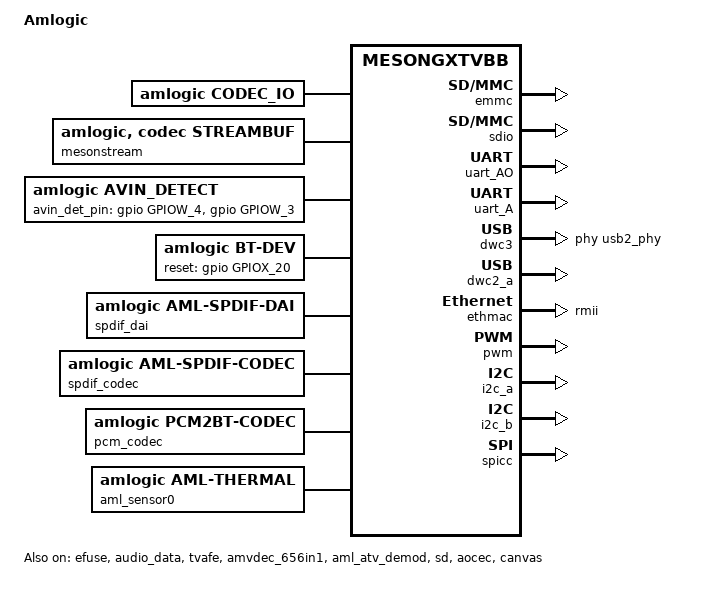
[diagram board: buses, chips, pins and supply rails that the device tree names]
/*
 * Amlogic Ltd. GXtvBaby 9023 skt Plaform
 *
 */

/dts-v1/;

#include <dt-bindings/interrupt-controller/arm-gic.h>
#include <dt-bindings/clock/gxtvbb.h>
#include <dt-bindings/gpio/gxtvbb.h>
#include <dt-bindings/gpio/gpio.h>
#include <dt-bindings/reset/aml_gxtvbb.h>
#include <dt-bindings/pwm/pwm.h>
#include <dt-bindings/pwm/meson.h>
#include "mesongxtvbb.dtsi"

/ {
	model = "Amlogic";
	compatible = "amlogic, gxtvbb";
	interrupt-parent = <&gic>;
	#address-cells = <2>;
	#size-cells = <2>;

	aliases {
		serial0 = &uart_AO;
		serial1 = &uart_A;
	};

	memory@00000000 {
		device_type = "memory";
		linux,usable-memory = <0x0 0x1000000 0x0 0x7f000000>;
	};

	reserved-memory {
		#address-cells = <2>;
		#size-cells = <2>;
		ranges;
		/* global autoconfigured region for contiguous allocations */
		secmon_reserved:linux,secmon {
			compatible = "amlogic, aml_secmon_memory";
			reg = <0x0 0x10000000 0x0 0x200000>;
			no-map;
		};
		secos_reserved:linux,secos {
			status = "disable";
			compatible = "amlogic, aml_secos_memory";
			reg = <0x0 0x05300000 0x0 0x2000000>;
			no-map;
		};
		pstore:aml_pstore {
			compatible = "amlogic, pstore";
			reg = <0x0 0x07300000 0x0 0x100000>;
			no-map;
		};
		/*fb_reserved:linux,meson-fb {
			compatible = "amlogic, fb-memory";
			size = <0x0 0x2000000>;
			no-map;
		};*/
		/*di reserved mem*/
		di_reserved:linux,di {
			compatible = "amlogic, di-mem";
			/* buffer_size = 3552320(yuv422 8bit) | 4596800(yuv422 10bit) | 4074560(yuv422 10bit full pack mode) */
			/** 10x3552320=34M(0x22) support 8bit **/
			/** 10x44596800=44M(0x2c) support 12bit **/
			/** 10x4074560=39M(0x27) support 10bit **/
			size = <0x0 0x2c00000>;
			//no-map;
		};
		/*di CMA pool */
		//di_cma_reserved:linux,di_cma {
			//compatible = "shared-dma-pool";
			//reusable;
			/* buffer_size = 3552320(yuv422 8bit) | 44596800(yuv422 10bit) | 4074560(yuv422 10bit full pack mode) */
			/** 10x3552320=34M(0x22) support 8bit **/
			/** 10x44596800=44M(0x2c) support 12bit **/
			/** 10x4074560=39M(0x27) support 10bit **/
			//size = <0x0 0x03000000>;
			//alignment = <0x0 0x400000>;
		//};
		demod_reserved:linux,demod {
			compatible = "amlogic, demod-mem";
			size = <0x0 0x600000>; //20m
			//no-map;
		};

		ion_reserved:linux,ion-dev {
			compatible = "amlogic, idev-mem";
			size = <0x0 0x4000000>;
		};

		/*  PICDEC reserved memory */
		picdec_reserved:linux,picdec {
			compatible = "amlogic, picdec_memory";
			size = <0x0 0x1000000>;
			//no-map;
		};
		/*  POST PROCESS MANAGER */
		ppmgr_reserved:linux,ppmgr {
			compatible = "amlogic, ppmgr_memory";
			size = <0x0 0x1000000>;
		};
		/* AVC Encode CMA pool */
		avc_cma_reserved:linux,avc_cma {
			compatible = "shared-dma-pool";
			linux,phandle = <1>;
			reusable;
			size = <0x0 0x2400000>;
			alignment = <0x0 0x400000>;
			linux,contiguous-region;
		};
		/* vdec CMA pool */
		vdec_cma_reserved:linux,vdec_cma {
			compatible = "shared-dma-pool";
			linux,phandle = <2>;
			reusable;
			size = <0x0 0x12000000>;
			alignment = <0x0 0x400000>;
		};

		jpegenc_cma_reserved:linux,jpegenc_cma {
			compatible = "shared-dma-pool";
			linux,phandle = <3>;
			reusable;
			size = <0x0 0x2400000>;
			alignment = <0x0 0x400000>;
		};
		/*  vdin0 CMA pool */
		vdin0_cma_reserved:linux,vdin0_cma {
			compatible = "shared-dma-pool";
			linux,phandle = <4>;
			reusable;
			/* 3840x2160x2x4  =64+4 M */
			size = <0x0 0x04400000>;
			alignment = <0x0 0x400000>;
		};
		/*  vdin1 CMA pool */
		vdin1_cma_reserved:linux,vdin1_cma {
			compatible = "shared-dma-pool";
			linux,phandle = <5>;
			reusable;
			/* 1920x1080x2x4  =16+4 M */
			size = <0x0 0x01400000>;
			alignment = <0x0 0x400000>;
		};
		/*  tvafe CMA pool */
		tvafe_cma_reserved:linux,tvafe_cma {
			compatible = "shared-dma-pool";
			linux,phandle = <6>;
			reusable;
			/* 5 M */
			size = <0x0 0x00800000>;
			alignment = <0x0 0x400000>;
		};
	};

	meson-vout {
		compatible = "amlogic, meson-vout";
		dev_name = "meson-vout";
		status = "okay";
	};
	meson-fb {
		compatible = "amlogic, meson-fb";
		/*memory-region = <&fb_reserved>;*/
		dev_name = "meson-fb";
		status = "okay";
		interrupts = <0 3 1
			0 89 1>;
		interrupt-names = "viu-vsync", "rdma";
		mem_size = <0x01800000 0x00100000>; /* fb0/fb1 memory size */
		display_mode_default = "1080p60hz";
		scale_mode = <1>; /** 0:VPU free scale 1:OSD free scale 2:OSD super scale */
		display_size_default = <1920 1080 1920 3240 32>; //1920*1080*4*3 = 0x17BB000
		/*pxp_mode = <1>; /** 0:normal mode 1:pxp mode */
		logo_addr = "0x7d851000";
	};
	ge2d {
		compatible = "amlogic, ge2d";
		dev_name = "ge2d";
		status = "okay";
		interrupts = <0 150 1>;
		interrupt-names = "ge2d";
		clocks = <&clock CLK_VAPB_0>,
			<&clock CLK_GE2D>;
		clock-names = "clk_vapb_0",
				"clk_ge2d";
		resets = <&clock GCLK_IDX_GE2D>;
		reset-names = "ge2d";
	};
	codec_io {
		compatible = "amlogic, codec_io";
		#address-cells=<2>;
		#size-cells=<2>;
		ranges;
		io_cbus_base{
			reg = <0x0 0xC0800000 0x0 0xb00000>;
		};
		io_dos_base{
			reg = <0x0 0xc8820000 0x0 0x10000>;
		};
		io_hiubus_base{
			reg = <0x0 0xc883c000 0x0 0x2000>;
		};
		io_aobus_base{
			reg = <0x0 0xc8100000 0x0 0x100000>;
		};
		io_vcbus_base{
			reg = <0x0 0xd0100000 0x0 0x40000>;
		};
		io_dmc_base{
			reg = <0x0 0xc8838000 0x0 0x2000>;
		};
	};

	mesonstream {
		compatible = "amlogic, codec, streambuf";
		dev_name = "mesonstream";
		status = "okay";
		resets = <&clock GCLK_IDX_HIU_PARSER_TOP
			&clock GCLK_IDX_VPU_INTR
			&clock GCLK_IDX_DEMUX
			&clock GCLK_IDX_DOS>;
		reset-names = "parser_top",
			"vpu_intr",
			"demux",
			"vdec";
	};

	amvideocap {
		compatible = "amlogic, amvideocap";
		dev_name = "amvideocap.0";
		status = "okay";
		max_size = <8>;//8M
	};

	ion_dev {
		compatible = "amlogic, ion_dev";
		memory-region = <&ion_reserved>;
	};

	vdec {
		compatible = "amlogic, vdec";
		memory-region = <&vdec_cma_reserved>;
		dev_name = "vdec.0";
		status = "okay";
		interrupts = <0 3 1
			0 23 1
			0 32 1
			0 43 1
			0 44 1
			0 45 1>;
		interrupt-names = "vsync",
			"demux",
			"parser",
			"mailbox_0",
			"mailbox_1",
			"mailbox_2";
	};
	ppmgr {
		compatible = "amlogic, ppmgr";//to match of_device_id's compatible member
		memory-region = <&ppmgr_reserved>;
		dev_name = "ppmgr";
		status = "okay";
	};
	deinterlace {
		compatible = "amlogic, deinterlace";
		status = "okay";
		flag_cma = <0>;/*0:use reserved;1:use cma*/
		memory-region = <&di_reserved>;
		//memory-region = <&di_cma_reserved>;
		interrupts = <0 46 1
				0 6 1>;
		interrupt-names = "de_irq",
				"timerc";
		/* nr_size(byte) = 1920*544*2(yuv422 8bit) | 1920*544*2*12/8(yuv422 10bit) | 1920*544*2*10/8(yuv422 10bit full pack mode) */
		/* mtn_size(byte) = 1920*544/2 */
		/* count_size(byte) = 1920*544/2 */
		/* mv_size(byte) = 1920*544*2/5 */
		/* mc_size(byte) = 544*2 */
		/* buffer_size = nr_size + mtn_size + count_size + mv_size + mc_size */
		/* buffer_size = 3552320(yuv422 8bit) | 4596800(yuv422 10bit) | 4074560(yuv422 10bit full pack mode) */
		buffer-size = <4596800>;
		hw-version = <2>;
		/* reserve-iomap = "true"; */
		/* if enable nr10bit, set nr10bit-surpport to 1 */
		nr10bit-surpport = <1>;
	};
	vdin0 {
		compatible = "amlogic, vdin";
		memory-region = <&vdin0_cma_reserved>;
		dev_name = "vdin0";
		status = "ok";
		reserve-iomap = "true";
		interrupts = <0 83 1>;
		rdma-irq = <2>;
		clocks = <&clock CLK_FPLL_DIV5>,
			<&clock CLK_VDIN_MEAS_CLK>;
		clock-names = "fclk_div5", "cts_vdin_meas_clk";
		vdin_id = <0>;
	};
	vdin1 {
		compatible = "amlogic, vdin";
		memory-region = <&vdin1_cma_reserved>;
		dev_name = "vdin1";
		status = "ok";
		reserve-iomap = "true";
		interrupts = <0 85 1>;
		rdma-irq = <4>;
		clocks = <&clock CLK_FPLL_DIV5>,
			<&clock CLK_VDIN_MEAS_CLK>;
		clock-names = "fclk_div5", "cts_vdin_meas_clk";
		vdin_id = <1>;
	};
	hdmirx {
		compatible = "amlogic, hdmirx";
		dev_name = "hdmirx";
		status = "ok";
		interrupts = <0 56 1>;
		clocks = <&clock CLK_HDMIRX_MODET_CLK>,
			<&clock CLK_HDMIRX_CFG_CLK>,
			<&clock CLK_HDMIRX_ACR_REF_CLK>,
			<&clock CLK_HDMIRX_AUDMEAS_CLK>,
			<&clock CLK_XTAL>,
			<&clock CLK_FPLL_DIV5>;
		clock-names = "hdmirx_modet_clk",
			"hdmirx_cfg_clk",
			"hdmirx_acr_ref_clk",
			"hdmirx_audmeas_clk",
			"xtal",
			"fclk_div5";
		hdmirx_id = <0>;
 	};
	tvafe {
		compatible = "amlogic, tvafe";
		memory-region = <&tvafe_cma_reserved>;
		dev_name = "tvafe";
		status = "ok";
		reg = <0x0 0xc8842000 0x0 0x2000>;
		reserve-iomap = "true";
		tvafe_id = <0>;
		pinctrl-names = "default";
		tvafe_pin_mux = < /*!!particular sequence, no more and no less!!!*/
			2	/*// TVAFE_CVBS_IN1,  //CVBS_IN0 = 0,*/
			1	/*// TVAFE_CVBS_IN0,    //CVBS_IN1,*/
			3	/*// TVAFE_CVBS_IN2,  //CVBS_IN2*/
			4	/*// TVAFE_CVBS_IN3,    //CVBS_IN3,*/
		>;
	};
	avin_detect {
		compatible = "amlogic, avin_detect";
		status = "okay";
		avin_device_num = <2>;
		interrupts = <0 65 1
					  0 66 1>;
		pinctrl-names = "avin_gpio_disable_pullup";
		pinctrl-0 = <&avin_gpio_disable_pull>;
		avin_det_pin =  <&gpio       GPIOW_4       GPIO_ACTIVE_HIGH>,
						<&gpio       GPIOW_3       GPIO_ACTIVE_HIGH>;
		detect_interval_length = <100>;
		set_detect_times = <5>;
		set_fault_tolerance = <1>;
	};
	amvdec_656in1 {
		compatible = "amlogic, amvdec_656in";
		dev_name = "amvdec_656in1";
		status = "ok";
		reg = <0x0 0xd0050000 0x0 0x7c>;
		clocks = <&clock CLK_FPLL_DIV2>,
			<&clock CLK_BT656_CLK1>;
		clock-names = "fclk_div2", "cts_bt656_clk1";
		bt656_id = <1>;
	};
	dvb {
		compatible = "amlogic, dvb";
		dev_name = "dvb";
		status = "okay";
		/*"parallel","serial","disable"*/
		ts2 = "parallel";
		ts2_control = <0>;
		ts2_invert = <0>;
		resets = <&clock GCLK_IDX_DEMUX
				&clock GCLK_IDX_ASYNC_FIFO
				&clock GCLK_IDX_AHB_ARB0
				&clock GCLK_IDX_HIU_PARSER_TOP>;
		reset-names = "demux", "asyncfifo", "ahbarb0", "uparsertop";
	};
	dvbfe {
		compatible = "amlogic, dvbfe";
		dev_name = "dvbfe";
		status = "okay";
		dtv_demod0 = "AMLDEMOD";
		fe0_dtv_demod = <0>;
		fe0_ts = <2>;
		fe0_dev = <0>;
		dtv_demod0_mem = <0>;
		memory-region = <&demod_reserved>;
		tuner0 = "mxl661_tuner";
		tuner0_i2c_adap_id = <1>;
		tuner0_i2c_addr = <0x60>;
		//tuner0_reset_value = <0>;
		//tuner0_reset_gpio =  "GPIOY_10" ;  /*GPIOX_8   76*/
		fe0_tuner = <0>;
		atv_demod0 = "aml_atv_demod";
		fe0_atv_demod = <0>;
	};
	aml_atv_demod {
		compatible = "amlogic, aml_atv_demod";
		dev_name = "aml_atv_demod";
		status = "okay";
		reg = <0x0 0xc8840000 0x0 0x2000>;
		reg_23cf = <0x88188832>;/*default:0x88188832;r840 on haier:0x48188832*/
	};
	aml_local_dimming {
		compatible = "amlogic, aml_local_dimming";
		dev_name = "aml_local_dimming";
		status = "disable";
	};
	amlvecm {
		compatible = "amlogic, vecm";
		dev_name = "aml_vecm";
		status = "okay";
		gamma_en = <1>;/*1:enabel ;0:disable*/
		wb_en = <1>;/*1:enabel ;0:disable*/
		cm_en = <1>;/*1:enabel ;0:disable*/
	};

	amvenc_avc{
		compatible = "amlogic, amvenc_avc";
		//memory-region = <&amvenc_avc_reserved>;
		memory-region = <&avc_cma_reserved>;
		dev_name = "amvenc_avc";
		status = "okay";
		interrupts = <0 45 1>;
		interrupt-names = "mailbox_2";
	};

	jpegenc{
		compatible = "amlogic, jpegenc";
		//memory-region = <&jpegenc_reserved>;
		memory-region = <&jpegenc_cma_reserved>;
		dev_name = "jpegenc";
		status = "okay";
		interrupts = <0 45 1>;
		interrupt-names = "mailbox_2";
	};


	vpu {
		compatible = "amlogic, vpu";
		dev_name = "vpu";
		status = "ok";
		clk_level = <7>;
		/**	0: 100.0M    1: 166.7M    2: 200.0M
			3: 250.0M    4: 333.3M    5: 400.0M
			6: 500.0M    7: 666.7M */
	};
	bt-dev{
		compatible = "amlogic, bt-dev";
		dev_name = "bt-dev";
		status = "ok";
		gpio_reset = <&gpio       GPIOX_20       GPIO_ACTIVE_HIGH>;
	};

	emmc{
		compatible = "amlogic, aml_sd_emmc";
		dev_name = "aml_newsd.0";
		status = "okay";
		reg = <0x0 0xd0074000 0x0 0x2000>;
		interrupts = <	0 218 1>;
		pinctrl-names = "emmc_clk_cmd_pins", "emmc_all_pins";
		pinctrl-0 = <&emmc_clk_cmd_pins>;
		pinctrl-1 = <&emmc_all_pins>;
		emmc{
			status = "okay";
			pinname = "emmc";
			ocr_avail = <0x200080>;          /**VDD voltage 3.3 ~ 3.4 */
			caps = "MMC_CAP_8_BIT_DATA","MMC_CAP_MMC_HIGHSPEED",
				 "MMC_CAP_SD_HIGHSPEED", "MMC_CAP_NONREMOVABLE", "MMC_CAP_1_8V_DDR",
				 "MMC_CAP_ERASE", "MMC_CAP_HW_RESET", "MMC_CAP_CMD23";
			caps2 = "MMC_CAP2_HS200";
			f_min = <300000>;
			f_max = <200000000>;
			tx_phase = <1>;
			max_req_size = <0x20000>;          /**256KB*/
			//            gpio_dat3 = "BOOT_3"
			gpio_dat3 = <&gpio       BOOT_3      GPIO_ACTIVE_HIGH>;
			hw_reset =  <&gpio       BOOT_9      GPIO_ACTIVE_HIGH>;
			card_type = <1>; /* 1:mmc card(include eMMC), 2:sd card(include tSD), */
		};
	};
    sd{
        compatible = "amlogic, aml_sd_emmc";
        dev_name = "aml_newsd.0";
        status = "okay";
        reg = <0x0 0xd0072000 0x0 0x2000>;
        interrupts = <	0 217 1
        				0 67 1
        				0 69 1>;
        pinctrl-names = "sd_clk_cmd_pins", "sd_all_pins";
        pinctrl-0 = <&sd_clk_cmd_pins>;
        pinctrl-1 = <&sd_all_pins>;
		sd{
	   		status = "okay";
	   		pinname = "sd";
	   		ocr_avail = <0x00200080>; // 3.3:0x200000, 1.8+3.3:0x00200080
	   		caps = "MMC_CAP_4_BIT_DATA","MMC_CAP_MMC_HIGHSPEED",
					"MMC_CAP_SD_HIGHSPEED";
	   				//,"MMC_CAP_UHS_SDR12",
	   				//"MMC_CAP_UHS_SDR25","MMC_CAP_UHS_SDR50",
	   				//"MMC_CAP_UHS_SDR104","MMC_CAP_NONREMOVABLE";
	   		f_min = <300000>;
	   		f_max = <100000000>;
	   		max_req_size = <0x20000>;          /**128KB*/
			gpio_dat3 = <&gpio       CARD_4       GPIO_ACTIVE_HIGH>;
			jtag_pin =  <&gpio       CARD_0       GPIO_ACTIVE_HIGH>;
			gpio_cd =  <&gpio       CARD_6       GPIO_ACTIVE_HIGH>;
			irq_in = <3>;
			irq_out = <5>;
	   		card_type = <5>; /* 0:unknown, 1:mmc card(include eMMC), 2:sd card(include tSD), 3:sdio device(ie:sdio-wifi), 4:SD combo (IO+mem) card, 5:NON sdio device(means sd/mmc card), other:reserved */
		};
    };
	sdio{
		compatible = "amlogic, aml_sd_emmc";
		dev_name = "aml_newsd.0";
		status = "okay";
		reg = <0x0 0xd0070000 0x0 0x2000>;
		interrupts = <	0 216 1>;
		pinctrl-names =  "sdio_clk_cmd_pins", "sdio_all_pins";
		pinctrl-0 = <&sdio_clk_cmd_pins>;
		pinctrl-1 = <&sdio_all_pins>;
		sdio{
			status = "okay";
			pinname = "sdio";
			ocr_avail = <0x00200080>;  /*3.3:0x200000, 1.8+3.3:0x00200080 */
			caps = "MMC_CAP_4_BIT_DATA","MMC_CAP_MMC_HIGHSPEED",
				"MMC_CAP_SD_HIGHSPEED", "MMC_CAP_NONREMOVABLE",
				"MMC_CAP_UHS_SDR12","MMC_CAP_UHS_SDR25",
				"MMC_CAP_UHS_SDR50","MMC_CAP_UHS_SDR104",
				"MMC_PM_KEEP_POWER";
				f_min = <400000>;
				f_max = <200000000>;
				max_req_size = <0x20000>;          /**128KB*/
				card_type = <3>;  /*3:sdio device(ie:sdio-wifi), 4:SD combo (IO+mem) card, */
		};
	};
	nand{
		compatible = "amlogic, aml_nand";
		dev_name = "nand";
		status = "disabled";
		reg = <0x0 0xd0074800 0x0 0x200>;
		interrupts = <	0 34 1 >;
		pinctrl-names = "nand_rb_mod","nand_norb_mod", "nand_cs_pins_only";
		pinctrl-0 = <&conf_nand_pulldown &conf_nand_pullup &all_nand_pins>;
		pinctrl-1 = <&conf_nand_pulldown &conf_nand_pullup &all_nand_pins>;
		pinctrl-2 = <&nand_cs_pins>;
		device_id = <0>;
		plat-names = "nandnormal";
		plat-num = <1>;
		plat-part-0 = <&normal>;
		normal: normal{
			enable_pad ="ce0","ce1","ce2","ce3";
			busy_pad = "rb0";
		};
	};
	partitions: partitions{
        parts = <11>;
		part-0 = <&logo>;
		part-1 = <&recovery>;
		part-2 = <&param>;
		part-3 = <&tee>;
		part-4 = <&crypt>;
		part-5 = <&misc>;
		part-6 = <&boot>;
		part-7 = <&system>;
		part-8 = <&cache>;
		part-9 = <&cri_data>;
		part-10 = <&data>;

		logo:logo{
			pname = "logo";
			size = <0x0 0x2000000>;
			mask = <1>;
		};
		recovery:recovery{
			pname = "recovery";
			size = <0x0 0x2000000>;
			mask = <1>;
		};
		param:param{
			pname = "param";
			size = <0x0 0x8000000>;
			mask = <2>;
		};
		tee:tee{
			pname = "tee";
			size = <0x0 0x800000>;
			mask = <1>;
		};
		crypt:crypt{
			pname = "crypt";
			size = <0x0 0x2000000>;
			mask = <1>;
		};
		misc:misc{
			pname = "misc";
			size = <0x0 0x2000000>;
			mask = <1>;
		};
		boot:boot
		{
			pname = "boot";
			size = <0x0 0x2000000>;
			mask = <1>;
		};
		system:system
		{
			pname = "system";
			size = <0x0 0x40000000>;
			mask = <1>;
		};
		cache:cache
		{
			pname = "cache";
			size = <0x0 0x20000000>;
			mask = <2>;
		};
		cri_data:cri_data
		{
			pname = "cri_data";
			size = <0x0 0x1000000>;
			mask = <2>;
		};
		data:data
		{
			pname = "data";
			size = <0xffffffff 0xffffffff>;
			mask = <4>;
		};
	};

	ampmu4 {
		compatible = "amlogic, pmu4_prober";
		#address-cells = <1>;
		#size-cells = <0>;

		pmu4 {
			compatible = "amlogic, pmu4";
			sub_type = "aml_pmu4";
			i2c_bus = "i2c_bus_b";
			reg = <0x35>;
			use_24m_clock = <0x0>;
			status = "disable";
		};
	};

	amhdmitx: amhdmitx{
		compatible = "amlogic, amhdmitx";
		dev_name = "amhdmitx";
		status = "okay";
		pinctrl-names="hdmitx_hpd", "hdmitx_ddc";
		pinctrl-0=<&hdmitx_hpd>;
		pinctrl-1=<&hdmitx_ddc>;
		/* HPD, 57 + 32 = 89; CEC, 151 + 32 = 183*/
		interrupts = <0 57 1>;
		interrupt-names = "hdmitx_hpd";
		clocks = <&clock CLK_HDMITX_SYS &clock CLK_HDMITX_ENCP
			&clock CLK_HDMITX_ENCI &clock CLK_HDMITX_PIXEL
			&clock CLK_HDMITX_PHY &clock CLK_VID>;
		clock-names = "hdmitx_clk_sys", "hdmitx_clk_encp", "hdmitx_clk_enci",
			"hdmitx_clk_pixel", "hdmitx_clk_phy", "hdmitx_clk_vid";

	};

	aocec: aocec{
		compatible = "amlogic, amlogic-aocec";
		device_name = "aocec";
		status = "okay";
		vendor_name = "Amlogic"; /* Max Chars: 8     */
		vendor_id = <0x000000>; /* Refer to http://standards.ieee.org/develop/regauth/oui/oui.txt   */
		product_desc = "GXTVBB"; /* Max Chars: 16    */
		cec_osd_string = "AML_TV"; /* Max Chars: 14    */
		port_num = <3>;
		ee_cec;
		arc_port_mask = <0x0>;
		interrupts = <0 56 1>;
		interrupt-names = "hdmi_eecec";
		pinctrl-names = "hdmitx_eecec";
		pinctrl-0=<&hdmitx_eecec>;
		reg = <0x0 0xc810023c 0x0 0x4
		       0x0 0xc8100000 0x0 0x200
		       0x0 0xda83e000 0x0 0x10
		       0x0 0xc883c000 0x0 0x400>;
	};
	tvout {
		compatible = "amlogic, tvout";
		dev_name = "tvout";
		status = "okay";
	};

	uart_AO: serial@c81004c0 {
		compatible = "amlogic, meson-uart";
		reg = <0x0 0xc81004c0 0x0 0x14>;
		interrupts = <0 193 1>;
		status = "okay";
		clocks = <&clock CLK_XTAL>;
		clock-names = "clk_uart";
		fifosize = < 64 >;
		pinctrl-names = "default";
		pinctrl-0 = <&ao_a_uart_pins>;
		support-sysrq = <0>;	/* 0 not support , 1 support */
	};

	uart_A: serial@c11084c0 {
		compatible = "amlogic, meson-uart";
		reg = <0x0 0xc11084c0 0x0 0x14>;
		interrupts = <0 26 1>;
		status = "okay";
		clocks = <&clock CLK_XTAL>;
		clock-names = "clk_uart";
		fifosize = < 128 >;
		pinctrl-names = "default";
		pinctrl-0 = <&a_uart_pins>;
	};

       dwc3: dwc3@c9000000 {
               compatible = "synopsys, dwc3";
               reg = <0x0 0xc9000000 0x0 0x100000>;
               interrupts = <0 30 4>;
               usb-phy = <&usb2_phy>, <&usb3_phy>;
               cpu-type = "gxbabytv";
               clock-src = "usb3.0";
       };

       usb2_phy: usb2phy@d007800 {
               compatible = "amlogic, amlogic-usb2";
               portnum = <4>;
               reg = <0x0 0xd0078000 0x0 0x80>;
       };

       usb3_phy: usb3phy@d0078080 {
               compatible = "amlogic, amlogic-usb3";
               portnum = <1>;
               reg = <0x0 0xd0078080 0x0 0x20>;
       };

	dwc2_a {
                compatible = "amlogic,dwc2";
                device_name = "dwc2_a";
                reg = <0x0 0xc9100000 0x0 0x40000>;
                interrupts = <0 31 4>;
                status = "okay";
                pl-periph-id = <0>; /** lm name */
                clock-src = "usb0"; /** clock src */
                port-id = <0>;  /** ref to mach/usb.h */
                port-type = <2>;        /** 0: otg, 1: host, 2: slave */
                port-speed = <0>; /** 0: default, high, 1: full */
                port-config = <0>; /** 0: default */
                port-dma = <0>; /** 0: default, 1: single, 2: incr, 3: incr4, 4: incr8, 5: incr16, 6: disable*/
                port-id-mode = <0>; /** 0: hardware, 1: sw_host, 2: sw_slave*/
                usb-fifo = <512>;
                cpu-type = "gxtvbaby";
                controller-type = <1>; /** 0: normal, 1: otg+dwc3*/
                phy-reg = <0xd0078000>;
                phy-reg-size = <0xa0>;
                resets = <&clock GCLK_IDX_USB_GENERAL
			&clock GCLK_IDX_MISC_USB1_TO_DDR
			&clock GCLK_IDX_USB1>;
                reset-names = "usb_general",
						"usb1",
						"usb1_to_ddr";
       };

	canvas{
		compatible = "amlogic, meson, canvas";
		dev_name = "amlogic-canvas";
		status = "ok";
		reg = <0x0 0xc8838000 0x0 0x400>;
	};

	rdma{
		compatible = "amlogic, meson, rdma";
		dev_name = "amlogic-rdma";
		status = "ok";
		interrupts = <0 89 1>;
		interrupt-names = "rdma";
	};

	/* AUDIO MESON8 DEVICES */
	i2s_dai: I2S {
		#sound-dai-cells = <0>;
		resets = <
			&clock GCLK_IDX_AIU_AI_TOP_GLUE
			&clock GCLK_IDX_AUD_BUF_ABD
			&clock GCLK_IDX_AIU_I2S_OUT
			&clock GCLK_IDX_AIU_AMCLK_MEASURE
			&clock GCLK_IDX_AIU_AIFIFO2
			&clock GCLK_IDX_AIU_AUD_MIXER
			&clock GCLK_IDX_AIU_MIXER_REG
			&clock GCLK_IDX_AIU_ADC
			&clock GCLK_IDX_AIU_TOP_LEVEL
			&clock GCLK_IDX_AIU_AOCLK
			&clock GCLK_IDX_AUD_IN
		>;
		reset-names =
			"top_glue",
			"aud_buf",
			"i2s_out",
			"amclk_measure",
			"aififo2",
			"aud_mixer",
			"mixer_reg",
			"adc",
			"top_level",
			"aoclk",
			"aud_in";
		clocks = <&clock CLK_MPLL2>,
			<&clock CLK_AMCLK>;
		clock-names = "mpll2", "mclk";
		compatible = "amlogic, aml-i2s-dai";
	};
	spdif_dai: SPDIF {
		#sound-dai-cells = <0>;
		compatible = "amlogic, aml-spdif-dai";
		resets = <
			&clock GCLK_IDX_AIU_IEC958
			&clock GCLK_IDX_AIU_ICE958_AMCLK
		>;
		reset-names =
			"iec958",
			"iec958_amclk";
		clocks = <&clock CLK_MPLL1>,
			<&clock CLK_I958>,
			<&clock CLK_AMCLK>,
			<&clock CLK_SPDIF>,
			<&clock CLK_81>;
		clock-names = "mpll1", "i958", "mclk", "spdif", "clk_81";
	};
	pcm_dai: PCM {
		#sound-dai-cells = <0>;
		compatible = "amlogic, aml-pcm-dai";
		pinctrl-names = "aml_audio_btpcm";
		pinctrl-0 = <&audio_btpcm_pins>;
		clocks = <&clock CLK_MPLL0>,
			<&clock CLK_PCM_MCLK>,
			<&clock CLK_PCM_SCLK>;
		clock-names = "mpll0", "pcm_mclk", "pcm_sclk";
		pcm_mode = <1>;	/* 0=slave mode, 1=master mode */
	};
	i2s_plat: i2s_platform {
		compatible = "amlogic, aml-i2s";
		interrupts = <0 29 1>;
	};
	pcm_plat: pcm_platform {
		compatible = "amlogic, aml-pcm";
	};
	spdif_codec: spdif_codec{
		#sound-dai-cells = <0>;
		compatible = "amlogic, aml-spdif-codec";
		pinctrl-names = "aml_audio_spdif";
		pinctrl-0 = <&audio_spdif_pins>;
	};
	pcm_codec: pcm_codec{
		#sound-dai-cells = <0>;
		compatible = "amlogic, pcm2BT-codec";
	};
	/* endof AUDIO MESON8 DEVICES */

	/* AUDIO board specific */
	dummy_codec:dummy{
		#sound-dai-cells = <0>;
		compatible = "amlogic, aml_dummy_codec";
		status = "okay";
	};
	pmu4_codec:pmu4{
		#sound-dai-cells = <0>;
		compatible = "amlogic, aml_pmu4_codec";
		status = "disable";
	};
	aml_g9tv_snd {
		compatible = "aml, aml_snd_g9tv";
		status = "okay";
		aml-sound-card,format = "i2s";
		aml_sound_card,name = "AML-G9TVAUDIO";
		pinctrl-names = "aml_snd_g9tv";
		pinctrl-0 = <&audio_pins>;
		cpu_list = <&cpudai0 &cpudai1 &cpudai2>;
		codec_list = <&codec0 &codec1 &codec2>;
		plat_list = <&i2s_plat &i2s_plat &pcm_plat>;
		cpudai0: cpudai0 {
			sound-dai = <&i2s_dai>;
		};
		cpudai1: cpudai1 {
			sound-dai = <&spdif_dai>;
		};
		cpudai2: cpudai2 {
			sound-dai = <&pcm_dai>;
		};
		codec0: codec0 {
			//sound-dai = <&pmu4_codec>;
			sound-dai = <&dummy_codec>;
		};
		codec1: codec1 {
			sound-dai = <&spdif_codec>;
		};
		codec2: codec2 {
			sound-dai = <&pcm_codec>;
		};
 	};
	amaudio2 {
		compatible = "amlogic, aml_amaudio2";
		status = "okay";
		interrupts = <0 48 1>;
 	};

	ethmac: ethernet@0xc9410000{
		compatible = "amlogic, gxbb-rmii-dwmac";
		reg = <0x0 0xc9410000 0x0 0x10000
			0x0 0xc8834540 0x0 0x8>;
		interrupts = <0 8 1>;
		phy-mode= "rmii";
		pinctrl-names = "eth_pins";
		pinctrl-0 = <&eth_pins>;
		#rst_pin-gpios = <&gpio GPIOZ_14 0>;
		mc_val = <0x1800>;
		resets = <&clock GCLK_IDX_ETHERNET>;
		reset-names = "ethpower";
		interrupt-names = "macirq";
		clocks = <&clock CLK_81>;
		clock-names = "ethclk81";
	};

	pwm {
		compatible = "amlogic, meson-pwm";
		status = "okay";
		pwm-outputs 	= <PWM_A>,<PWM_B>,<PWM_C>,<PWM_D>,
			      	  <PWM_E>,<PWM_F>,<PWM_AO_A>,<PWM_AO_B>;
		pwm-outputs-new = <PWM_A>,<PWM_B>,<PWM_C>,<PWM_D>,
				  <PWM_E>,<PWM_F>,<PWM_AO_A>,<PWM_AO_B>,
			          <PWM_A2>,<PWM_B2>,<PWM_C2>,<PWM_D2>,
			          <PWM_E2>,<PWM_F2>,<PWM_AO_A2>,<PWM_AO_B2>;
		reg = <0x0 0xc1108550 0x0 0x30>,
		      <0x0 0xc8100550  0x0 0x10>;
		clocks = <&clock CLK_XTAL>,
			 <&clock CLK_VID_PLL>,
			 <&clock CLK_FPLL_DIV4>,
			 <&clock CLK_FPLL_DIV3>;
		clock-names = "xtal",
			      "vid_pll_clk",
			      "fclk_div4",
			      "fclk_div3";
		clock-select = <XTAL_CLK>,<XTAL_CLK>,<XTAL_CLK>,<XTAL_CLK>,
			       	   <XTAL_CLK>,<XTAL_CLK>,<XTAL_CLK>,<XTAL_CLK>;
		clock-select-new = <XTAL_CLK>,<XTAL_CLK>,<XTAL_CLK>,<XTAL_CLK>,
		                   <XTAL_CLK>,<XTAL_CLK>,<XTAL_CLK>,<XTAL_CLK>,
		                   <XTAL_CLK>,<XTAL_CLK>,<XTAL_CLK>,<XTAL_CLK>,
		                   <XTAL_CLK>,<XTAL_CLK>,<XTAL_CLK>,<XTAL_CLK>;
		                   /*all channels use the default clock source XTAL_CLK*/
		                   /*and you can shoose it in file dt-bindings/pwm/meson.h*/
	};

	aml_sensor0: aml-sensor@0 {
		compatible = "amlogic, aml-thermal";
		device_name = "thermal";
		#thermal-sensor-cells = <1>;
		cooling_devices {
			cpufreq_cool_cluster0 {
				min_state = <1000000>;
				dyn_coeff = <140>;
				cluster_id = <0>;
				node_name = "cpus";
				device_type = "cpufreq";
			};
			cpucore_cool_cluster0 {
				min_state = <1>;
				dyn_coeff = <0>;
				cluster_id = <0>;
				node_name = "cpu_core_cluster0";
				device_type = "cpucore";
			};
			gpufreq_cool {
				min_state = <400>;
				dyn_coeff = <437>;
				cluster_id = <0>;
				node_name = "t83x";
				device_type = "gpufreq";
			};
			gpucore_cool {
				min_state = <1>;
				dyn_coeff = <0>;
				cluster_id = <0>;
				node_name = "thermal_gpu_cores";
				device_type = "gpucore";
			};
		};
		cpu_cluster0:cpu_core_cluster0 {
			#cooling-cells = <2>; /* min followed by max */
		};
		gpucore:thermal_gpu_cores {
			#cooling-cells = <2>; /* min followed by max */
		};
	};
	thermal-zones {
		soc_thermal {
			polling-delay = <1000>;
			polling-delay-passive = <100>;
			sustainable-power = <1800>;

			thermal-sensors = <&aml_sensor0 3>;

			trips {
				switch_on: trip-point@0 {
					temperature = <70000>;
					hysteresis = <1000>;
					type = "passive";
				};
				control: trip-point@1 {
					temperature = <80000>;
					hysteresis = <1000>;
					type = "passive";
				};
				hot: trip-point@2 {
					temperature = <85000>;
					hysteresis = <5000>;
					type = "hot";
				};
				critical: trip-point@3 {
					temperature = <260000>;
					hysteresis = <1000>;
					type = "critical";
				};
			};

			cooling-maps {
				cpufreq_cooling_map {
					trip = <&control>;
					cooling-device = <&cpus 0 4>;
					contribution = <1024>;
				};
				cpucore_cooling_map {
					trip = <&control>;
					cooling-device = <&cpu_cluster0 0 3>;
					contribution = <1024>;
				};
				gpufreq_cooling_map {
					trip = <&control>;
					cooling-device = <&t83x_gpu 0 4>;
					contribution = <1024>;
				};
				gpucore_cooling_map {
					trip = <&control>;
					cooling-device = <&gpucore 0 2>;
					contribution = <1024>;
				};
			};
		};
	};

	/* END OF AUDIO board specific */

};

	&i2c_ao {
		status = "disabled";
		pinctrl-names="default";
		pinctrl-0=<&ao_i2c_master>;
	};

	&i2c_a {
		status = "okay";
		pinctrl-names="default";
		pinctrl-0=<&a_i2c_master>;
	};

	&i2c_b {
		status = "okay";
		pinctrl-names="default";
		pinctrl-0=<&b_i2c_master_pin1>;
	};
	&i2c_c {
		status = "disabled";
		pinctrl-names="default";
		pinctrl-0=<&c_i2c_master>;
	};
	&i2c_d {
		status = "disabled";
		pinctrl-names="default";
		pinctrl-0=<&d_i2c_master>;
	};
&pinmux {
	audio_pins:audio_pin{
		amlogic,setmask=<8 0x7C0>;
		amlogic,clrmask=<8 0x3800>;
		amlogic,pins = "GPIOZ_1","GPIOZ_2","GPIOZ_3","GPIOZ_4","GPIOZ_5";
	};

	audio_spdif_pins:audio_pin1{
		amlogic,setmask=<8 0x4>;
		amlogic,clrmask=<8 0x10
				 7 0x4000>;
		amlogic,pins = "GPIOH_10";
	};

	audio_btpcm_pins:audio_btpcm_pins{
		/* BT PCM PINMUX SETTING*/
		amlogic,setmask=<1 0x3c0000>;
		amlogic,clrmask=<1 0x3C000000>;
		amlogic,pins ="GPIOX_4", "GPIOX_5", "GPIOX_6", "GPIOX_7";
	};

	eth_pins: eth_pins{
		amlogic,setmask =<8 0x1fffc000>;
		amlogic,clrmask =<8 0x60000000>,
			<9 0x1fff>;
		amlogic,pins="GPIOZ_6","GPIOZ_7","GPIOZ_8","GPIOZ_9",
			"GPIOZ_10","GPIOZ_11","GPIOZ_12","GPIOZ_13",
			"GPIOZ_14","GPIOZ_15","GPIOZ_16","GPIOZ_17",
			"GPIOZ_18","GPIOZ_19","GPIOZ_20";
	};
	avin_gpio_disable_pull:avin_gpio_disable_pull{
		amlogic,pins = "GPIOW_3","GPIOW_4";
		amlogic,enable-output=<1>;
		amlogic,pullupen=<0>;
	};
	/*PWM-A*/
	/*pwm_a_pins:pwm_a_pins{
		amlogic,setmask=<10 0x200000>;
		amlogic,clrmask=<10 0x405000>;
		amlogic,pins="GPIOY_12";
	};*/
};
&efuse {
	status = "okay";
};
&audio_data{
	status = "okay";
};

	&spicc{
		status = "okay";
		pinctrl-names = "spicc_pulldown","spicc_pullup";
		pinctrl-0 = <&spicc_pulldown_h6h7h8 &spicc_pins_h6h7h8>;
		pinctrl-1 = <&spicc_pullup_h6h7h8 &spicc_pins_h6h7h8>;
		num_chipselect = <1>;
		cs-gpios = <&gpio GPIOH_9 GPIO_ACTIVE_HIGH>;
		#address-cells = <1>;
		#size-cells = <0>;
	};
